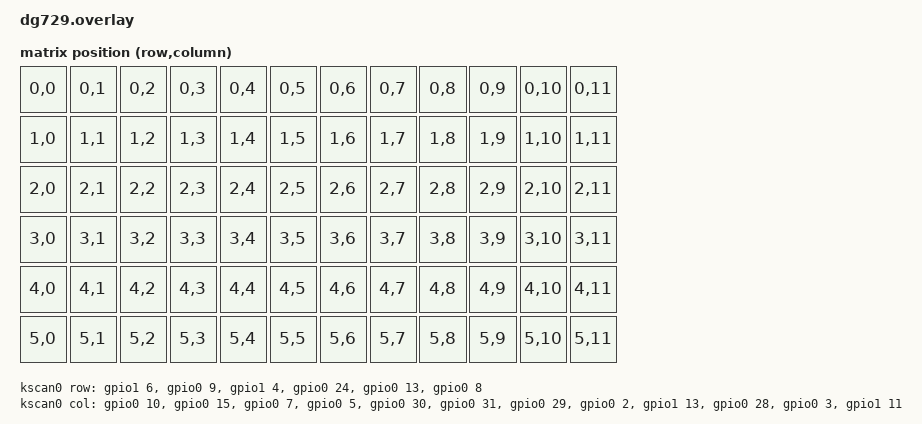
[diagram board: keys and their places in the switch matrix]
#include <dt-bindings/zmk/matrix_transform.h>

#define MOUSE_PS2_DRIVER_UART
#define MOUSE_PS2_PIN_SCL_PRO_MICRO <&gpio0 6  GPIO_ACTIVE_HIGH>
#define MOUSE_PS2_PIN_SDA_PRO_MICRO <&gpio0 26 GPIO_ACTIVE_HIGH>
// #define MOUSE_PS2_PIN_RST_PRO_MICRO <&gpio0 14 GPIO_ACTIVE_HIGH>

#define MOUSE_PS2_PIN_SDA_PINCTRL  <NRF_PSEL(UART_RX, 0, 26)>
#define MOUSE_PS2_PIN_UNEXPOSED_TX <NRF_PSEL(UART_TX, 0, 27)>
#define MOUSE_PS2_PIN_UNEXPOSED_RX <NRF_PSEL(UART_RX, 0, 25)>
#define MOUSE_PS2_UART_BAUD_RATE <14400>

/ {
  chosen {
    zmk,kscan = &kscan0;
    zmk,matrix-transform = &default_transform;
  };

  kscan0: kscan {
    compatible = "zmk,kscan-gpio-matrix";
    wakeup-source;
    diode-direction = "col2row";
    row-gpios
      = <&gpio1 6  (GPIO_ACTIVE_HIGH | GPIO_PULL_DOWN)>
      , <&gpio0 9  (GPIO_ACTIVE_HIGH | GPIO_PULL_DOWN)>
      , <&gpio1 4  (GPIO_ACTIVE_HIGH | GPIO_PULL_DOWN)>
      , <&gpio0 24 (GPIO_ACTIVE_HIGH | GPIO_PULL_DOWN)>
      , <&gpio0 13 (GPIO_ACTIVE_HIGH | GPIO_PULL_DOWN)>
      , <&gpio0 8  (GPIO_ACTIVE_HIGH | GPIO_PULL_DOWN)>
      ;
    col-gpios
      = <&gpio0 10 GPIO_ACTIVE_HIGH>
      , <&gpio0 15 GPIO_ACTIVE_HIGH>
      , <&gpio0 7  GPIO_ACTIVE_HIGH>
      , <&gpio0 5  GPIO_ACTIVE_HIGH>
      , <&gpio0 30 GPIO_ACTIVE_HIGH>
      , <&gpio0 31 GPIO_ACTIVE_HIGH>
      , <&gpio0 29 GPIO_ACTIVE_HIGH>
      , <&gpio0 2  GPIO_ACTIVE_HIGH>
      , <&gpio1 13 GPIO_ACTIVE_HIGH>
      , <&gpio0 28 GPIO_ACTIVE_HIGH>
      , <&gpio0 3  GPIO_ACTIVE_HIGH>
      , <&gpio1 11 GPIO_ACTIVE_HIGH>
      ;
  };

  default_transform: keymap_transform_0 {
    compatible = "zmk,matrix-transform";
    columns = <12>;
    rows = <6>;
    map = <
      RC(0,0) RC(0,1) RC(0,2) RC(0,3) RC(0,4) RC(0,5) RC(0,6) RC(0,7) RC(0,8) RC(0,9) RC(0,10) RC(0,11)
      RC(1,0) RC(1,1) RC(1,2) RC(1,3) RC(1,4) RC(1,5) RC(1,6) RC(1,7) RC(1,8) RC(1,9) RC(1,10) RC(1,11)
      RC(2,0) RC(2,1) RC(2,2) RC(2,3) RC(2,4) RC(2,5) RC(2,6) RC(2,7) RC(2,8) RC(2,9) RC(2,10) RC(2,11)
      RC(3,0) RC(3,1) RC(3,2) RC(3,3) RC(3,4) RC(3,5) RC(3,6) RC(3,7) RC(3,8) RC(3,9) RC(3,10) RC(3,11)
      RC(4,0) RC(4,1) RC(4,2) RC(4,3) RC(4,4) RC(4,5) RC(4,6) RC(4,7) RC(4,8) RC(4,9) RC(4,10) RC(4,11)
      RC(5,0) RC(5,1) RC(5,2) RC(5,3) RC(5,4) RC(5,5) RC(5,6) RC(5,7) RC(5,8) RC(5,9) RC(5,10) RC(5,11)
    >;
  };
};

&gpiote {
  interrupts = < 6 0 >;
};

&clock {
  interrupts = < 0 3 >;
};

&power {
  interrupts = < 0 3 >;
};

&radio {
  interrupts = < 1 3 >;
};

&uart0 {
  interrupts = < 2 3 >;
};

&i2c0 {
  interrupts = < 3 3 >;
};

&spi0 {
  interrupts = < 3 3 >;
};

&i2c1 {
  interrupts = < 4 3 >;
};

&spi1 {
  interrupts = < 4 3 >;
};

&nfct {
  interrupts = < 5 3 >;
};

&adc {
  interrupts = < 7 3 >;
};

&timer0 {
  interrupts = < 8 3 >;
};

&timer1 {
  interrupts = < 9 3 >;
};

&timer2 {
  interrupts = < 10 3 >;
};

&rtc0 {
  interrupts = < 11 3 >;
};

&temp {
  interrupts = < 12 3 >;
};

&rng {
  interrupts = < 13 3 >;
};

&ecb {
  interrupts = < 14 3 >;
};

&ccm {
  interrupts = < 15 3 >;
};

&wdt {
  interrupts = < 16 3 >;
};

&rtc1 {
  interrupts = < 17 3 >;
};

&qdec {
  interrupts = < 18 3 >;
};

&comp {
  interrupts = < 19 3 >;
};

&egu0 {
  interrupts = < 20 3 >;
};

&egu1 {
  interrupts = < 21 3 >;
};

&egu2 {
  interrupts = < 22 3 >;
};

&egu3 {
  interrupts = < 23 3 >;
};

&egu4 {
  interrupts = < 24 3 >;
};

&egu5 {
  interrupts = < 25 3 >;
};

&timer3 {
  interrupts = < 26 3 >;
};

&timer4 {
  interrupts = < 27 3 >;
};

&pwm0 {
  interrupts = < 28 3 >;
};

&pdm0 {
  interrupts = < 29 3 >;
};

&pwm1 {
  interrupts = < 33 3 >;
};

&pwm2 {
  interrupts = < 34 3 >;
};

&spi2 {
  interrupts = < 35 3 >;
};

&rtc2 {
  interrupts = < 36 3 >;
};

&i2s0 {
  interrupts = < 37 3 >;
};

&usbd {
  interrupts = < 39 3 >;
};

&uart1 {
  interrupts = < 40 3 >;
};

&qspi {
  interrupts = < 41 3 >;
};

&pwm3 {
  interrupts = < 45 3 >;
};

&spi3 {
  interrupts = < 47 3 >;
};

&cryptocell {
  interrupts = < 42 3 >;
};


&pinctrl {
  uart0_ps2_default: uart0_ps2_default {
    group1 {
      psels = MOUSE_PS2_PIN_UNEXPOSED_TX, MOUSE_PS2_PIN_SDA_PINCTRL;
   };
  };

  uart0_ps2_sleep: uart0_ps2_sleep {
    group1 {
      psels = MOUSE_PS2_PIN_UNEXPOSED_TX, MOUSE_PS2_PIN_SDA_PINCTRL;
      low-power-enable;
    };
  };

  uart0_ps2_off: uart0_ps2_off {
    group1 {
      psels = MOUSE_PS2_PIN_UNEXPOSED_TX, MOUSE_PS2_PIN_UNEXPOSED_RX;
    };
  };
};

#ifdef MOUSE_PS2_DRIVER_UART

&uart0 {
  status = "disabled";
  compatible = "nordic,nrf-uarte";

  current-speed = MOUSE_PS2_UART_BAUD_RATE;
  pinctrl-0 = <&uart0_ps2_default>;
  pinctrl-1 = <&uart0_ps2_off>;

  pinctrl-names = "default", "sleep";

  uart_ps2: uart_ps2 {
    status = "disabled";
    compatible = "uart-ps2";
    scl-gpios = MOUSE_PS2_PIN_SCL_PRO_MICRO;
    sda-gpios = MOUSE_PS2_PIN_SDA_PRO_MICRO;
  };
};

#else

/ {
  gpio_ps2: gpio_ps2 {
    status = "disabled";
    compatible = "gpio-ps2";
    scl-gpios = MOUSE_PS2_PIN_SCL_PRO_MICRO;
    sda-gpios = MOUSE_PS2_PIN_SDA_PRO_MICRO;
  };
};

#endif

/ {
  mouse_ps2: mouse_ps2 {
    status = "disabled";
    compatible = "zmk,input-mouse-ps2";
#ifdef MOUSE_PS2_DRIVER_UART
    ps2-device = <&uart_ps2>;
#else
    ps2-device = <&gpio_ps2>;
#endif
#ifdef MOUSE_PS2_PIN_RST_PRO_MICRO
    rst-gpios = MOUSE_PS2_PIN_RST_PRO_MICRO;
#endif
  };

  mouse_ps2_input_listener: mouse_ps2_input_listener {
    status = "disabled";
    compatible = "zmk,input-listener-ps2";
    device = <&mouse_ps2>;
    // Some of the available settings depend on the keymap. So they
    // are adjusted in...
    // zmk-config/config/includes/trackpoint.dtsi
  };
};
